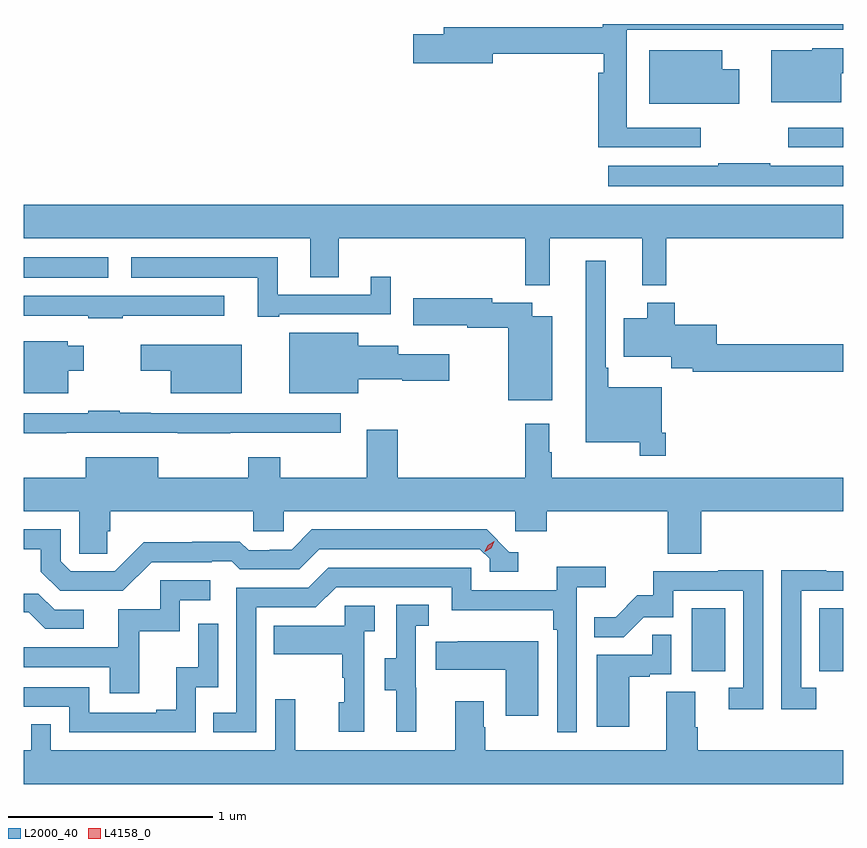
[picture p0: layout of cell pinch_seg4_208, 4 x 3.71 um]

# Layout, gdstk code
import gdstk
lib = gdstk.Library(unit=1e-6, precision=1e-09)
def R(c, l, rs):  # rectangles x0, y0, x1, y1
    for r in rs: c.add(gdstk.rectangle(r[:2], r[2:], *l))
def P(c, l, *ps):  # polygons
    for p in ps: c.add(gdstk.Polygon(p, *l))
L2000_40 = (2000, 40)
L4158_0 = (4158, 0)

pinch_seg4_208 = lib.new_cell('pinch_seg4_208')
R(pinch_seg4_208, L2000_40, [(1001.192,814.686,1001.356,814.993), (1001.816,814.686,1001.932,814.993), (997.932,816.608,998.344,816.709), (1001.664,817.245,1001.932,817.341)])
P(pinch_seg4_208, L2000_40, [(1001.236,817.341),(1000.875,817.341),(1000.875,817.818),(1001.932,817.818),(1001.932,817.847),(1000.759,817.847),(1000.759,817.831),(999.983,817.831),(999.983,817.797),(999.834,817.797),(999.834,817.655),(1000.222,817.655),(1000.222,817.702),(1000.763,817.702),(1000.763,817.609),(1000.736,817.609),(1000.736,817.245),(1001.236,817.245)],
  [(1001.923,817.607),(1001.932,817.607),(1001.932,817.729),(1001.781,817.729),(1001.781,817.72),(1001.582,817.72),(1001.582,817.466),(1001.923,817.466)],
  [(1001.425,817.627),(1001.341,817.627),(1001.341,817.72),(1000.985,817.72),(1000.985,817.457),(1001.425,817.457)],
  [(1001.932,817.156),(1001.576,817.156),(1001.576,817.166),(1001.323,817.166),(1001.323,817.156),(1000.785,817.156),(1000.785,817.055),(1001.932,817.055)],
  [(1000.499,816.8),(1000.952,816.8),(1000.952,816.572),(1001.069,816.572),(1001.069,816.8),(1001.932,816.8),(1001.932,816.964),(997.932,816.964),(997.932,816.8),(999.329,816.8),(999.329,816.61),(999.469,816.61),(999.469,816.8),(1000.381,816.8),(1000.381,816.572),(1000.499,816.572)],
  [(999.178,816.429),(999.723,816.429),(999.723,816.613),(999.626,816.613),(999.626,816.525),(999.172,816.525),(999.172,816.709),(998.457,816.709),(998.457,816.608),(999.074,816.608),(999.074,816.417),(999.178,816.417)],
  [(1001.066,815.851),(1001.046,815.851),(1001.046,816.073),(1000.786,816.073),(1000.786,816.169),(1000.773,816.169),(1000.773,816.691),(1000.676,816.691),(1000.676,815.804),(1000.938,815.804),(1000.938,815.739),(1001.066,815.739)],
  [(998.414,816.422),(998.911,816.422),(998.911,816.519),(997.932,816.519),(997.932,816.423),(998.245,816.423),(998.245,816.411),(998.414,816.411)],
  [(1000.513,816.421),(1000.414,816.421),(1000.414,816.487),(1000.218,816.487),(1000.218,816.507),(999.834,816.507),(999.834,816.377),(1000.096,816.377),(1000.096,816.365),(1000.298,816.365),(1000.298,816.011),(1000.513,816.011)],
  [(1001.932,816.284),(1001.314,816.284),(1001.314,816.379),(1001.111,816.379),(1001.111,816.487),(1000.976,816.487),(1000.976,816.409),(1000.862,816.409),(1000.862,816.221),(1001.093,816.221),(1001.093,816.167),(1001.197,816.167),(1001.197,816.148),(1001.932,816.148)],
  [(999.565,816.113),(999.779,816.113),(999.779,816.106),(1000.009,816.106),(1000.009,816.235),(999.76,816.235),(999.76,816.277),(999.565,816.277),(999.565,816.34),(999.227,816.34),(999.227,816.044),(999.565,816.044)],
  [(998.149,816.155),(998.224,816.155),(998.224,816.277),(998.145,816.277),(998.145,816.298),(997.932,816.298),(997.932,816.044),(998.149,816.044)],
  [(998.995,816.28),(998.502,816.28),(998.502,816.155),(998.648,816.155),(998.648,816.044),(998.995,816.044)],
  [(998.138,815.85),(998.683,815.85),(998.683,815.849),(998.939,815.849),(998.939,815.85),(999.478,815.85),(999.478,815.946),(998.552,815.946),(998.552,815.948),(998.399,815.948),(998.399,815.959),(998.245,815.959),(998.245,815.946),(997.932,815.946),(997.932,815.849),(998.138,815.849)],
  [(1000.381,815.632),(999.758,815.632),(999.758,815.866),(999.605,815.866),(999.605,815.632),(999.183,815.632),(999.183,815.731),(999.028,815.731),(999.028,815.632),(998.587,815.632),(998.587,815.731),(998.234,815.731),(998.234,815.632),(997.932,815.632),(997.932,815.468),(998.202,815.468),(998.202,815.26),(998.339,815.26),(998.339,815.37),(998.354,815.37),(998.354,815.468),(999.051,815.468),(999.051,815.37),(999.201,815.37),(999.201,815.468),(1000.332,815.468),(1000.332,815.37),(1000.484,815.37),(1000.484,815.468),(1001.075,815.468),(1001.075,815.26),(1001.24,815.26),(1001.24,815.468),(1001.932,815.468),(1001.932,815.632),(1000.51,815.632),(1000.51,815.756),(1000.498,815.756),(1000.498,815.896),(1000.381,815.896)],
  [(998.556,815.22),(998.849,815.22),(998.849,815.223),(998.948,815.223),(998.987,815.184),(999.276,815.184),(999.375,815.283),(1000.158,815.283),(1000.206,815.235),(1000.206,815.172),(1000.345,815.172),(1000.345,815.268),(1000.302,815.268),(1000.191,815.379),(999.338,815.379),(999.239,815.28),(999.132,815.28),(999.132,815.277),(999.029,815.277),(998.987,815.32),(998.754,815.32),(998.754,815.317),(998.518,815.317),(998.376,815.175),(998.16,815.175),(998.112,815.223),(998.112,815.379),(997.932,815.379),(997.932,815.283),(998.015,815.283),(998.015,815.173),(998.109,815.079),(998.415,815.079)],
  [(999.066,814.998),(999.357,814.998),(999.456,815.097),(1000.02,815.097),(1000.02,814.985),(1000.516,814.985),(1000.516,814.889),(1000.536,814.889),(1000.536,814.389),(1000.632,814.389),(1000.632,815.096),(1000.774,815.096),(1000.774,815.198),(1000.535,815.198),(1000.535,815.082),(1000.116,815.082),(1000.116,815.193),(999.419,815.193),(999.32,815.094),(998.97,815.094),(998.97,814.485),(998.857,814.485),(998.857,814.389),(999.066,814.389)],
  [(1001.8,814.605),(1001.727,814.605),(1001.727,815.079),(1001.932,815.079),(1001.932,815.175),(1001.849,815.175),(1001.849,815.18),(1001.631,815.18),(1001.631,814.5),(1001.8,814.5)],
  [(1001.541,815.18),(1001.323,815.18),(1001.323,815.175),(1001.005,815.175),(1001.005,815.058),(1000.928,815.058),(1000.821,814.951),(1000.717,814.951),(1000.717,814.852),(1000.861,814.852),(1000.959,814.95),(1001.103,814.95),(1001.103,815.079),(1001.445,815.079),(1001.445,814.605),(1001.373,814.605),(1001.373,814.5),(1001.541,814.5)],
  [(998.495,814.881),(998.694,814.881),(998.694,815.034),(998.842,815.034),(998.842,815.13),(998.598,815.13),(998.598,814.989),(998.393,814.989),(998.393,814.803),(997.932,814.803),(997.932,814.707),(998.351,814.707),(998.351,814.578),(998.495,814.578)],
  [(998.224,814.986),(998.082,814.986),(998.002,815.066),(997.932,815.066),(997.932,814.974),(997.955,814.974),(998.036,814.893),(998.224,814.893)],
  [(999.848,814.605),(999.846,814.605),(999.846,814.909),(999.91,814.909),(999.91,815.012),(999.75,815.012),(999.75,814.749),(999.695,814.749),(999.695,814.594),(999.749,814.594),(999.749,814.392),(999.848,814.392)],
  [(999.594,814.883),(999.646,814.883),(999.646,815.007),(999.498,815.007),(999.498,814.909),(999.151,814.909),(999.151,814.769),(999.486,814.769),(999.486,814.655),(999.496,814.655),(999.496,814.536),(999.47,814.536),(999.47,814.392),(999.594,814.392)],
  [(998.772,814.608),(998.88,814.608),(998.88,814.918),(998.784,814.918),(998.784,814.706),(998.675,814.706),(998.675,814.498),(998.579,814.498),(998.579,814.485),(998.25,814.485),(998.25,814.608),(997.932,814.608),(997.932,814.512),(998.154,814.512),(998.154,814.389),(998.772,814.389)],
  [(1000.888,814.659),(1000.988,814.659),(1000.988,814.671),(1001.094,814.671),(1001.094,814.865),(1000.999,814.865),(1000.999,814.767),(1000.73,814.767),(1000.73,814.416),(1000.888,814.416)],
  [(1000.444,814.834),(1000.051,814.834),(1000.051,814.831),(999.943,814.831),(999.943,814.694),(1000.286,814.694),(1000.286,814.47),(1000.444,814.47)],
  [(1001.932,814.3),(1001.222,814.3),(1001.222,814.412),(1001.209,814.412),(1001.209,814.586),(1001.069,814.586),(1001.069,814.3),(1000.185,814.3),(1000.185,814.412),(1000.177,814.412),(1000.177,814.54),(1000.037,814.54),(1000.037,814.3),(999.257,814.3),(999.257,814.549),(999.159,814.549),(999.159,814.3),(998.064,814.3),(998.064,814.427),(997.968,814.427),(997.968,814.3),(997.932,814.3),(997.932,814.136),(1001.932,814.136)])
P(pinch_seg4_208, L4158_0, [(1000.182,815.269),(1000.182,815.269),(1000.198,815.302),(1000.229,815.321),(1000.229,815.321),(1000.229,815.321),(1000.213,815.288),(1000.182,815.269)])

lib.write_gds('pinch_seg4_208.gds')
